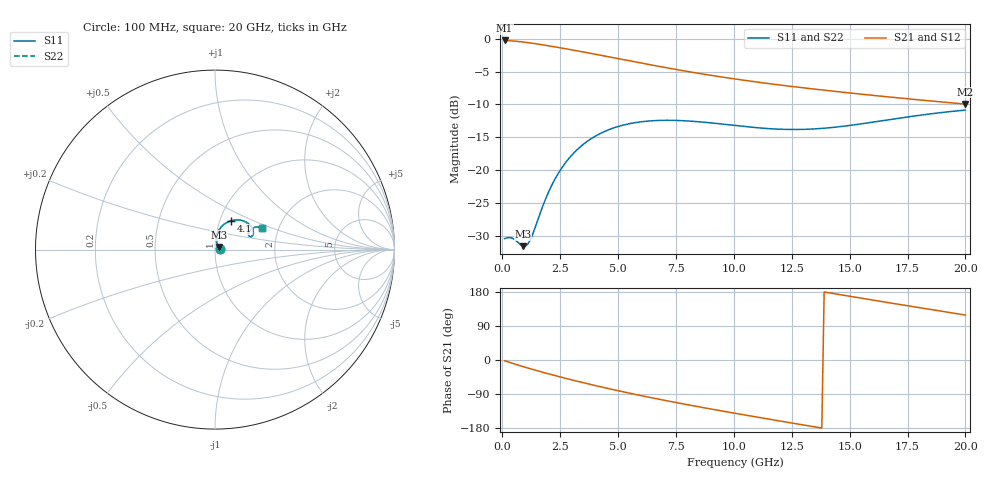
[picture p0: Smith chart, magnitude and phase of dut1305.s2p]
! Touchstone file exported from HFSS 2024.1.0
!  File:  C:/UserFiles/LocalFiles/RDL_TSV_Batchsim/temp_RDL_TSV_1305_1780383224.aedt
!  Generated:  03:09:50 PM Jun  2, 2026
!  Design:  RDL_TSV
!  Project:  temp_RDL_TSV_1305_1780383224
!  Setup:  Setup1
!  Solution:  Sweep
! Variables:
!  dtsv = 14.44um
!  hbump = 3um
!  htsv = 54.51um
!  ldown = 481.93um
!  lrdl = 540.87um
!  p = 40
!  p1 = 41.04um
!  rhole = 10um
!  subl = 3609.27um
!  t = 450um
!  tdown = 2.58um
!  trdl = 2.49um
!  viad = 10um
!  wdown = 10.47um
!  wrdl = 26.08um
!  xbump = 18um
# GHz S MA R 50.000000
! Terminal data exported
! Port[1] = TM1_1_T1
! Port[2] = TM1_4_T1
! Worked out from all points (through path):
!   200 points, 100 MHz to 20 GHz, reference 50 ohm
!   highest |S21| = -0.27 dB at 100 MHz (marker M1); lowest = -10.0 dB at 20 GHz (marker M2)
!   group delay of S21, straight-line fit = 32 ps
!   lowest |S11| = -31.6 dB at 900 MHz (marker M3), VSWR 1.05, Z = 52.2 + j1.54 ohm
!   |S11| at or under -10 dB: start of sweep to end of sweep
!   |S22| runs from -31.6 to -10.9 dB; largest |S21 - S12| = 2.2e-14
!   S11 on the Smith chart (normalised r, x): 100 MHz: 1.06, +0.00; 4.1 GHz: 1.13, +0.38; 20 GHz: 1.63, +0.43
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0.1  0.0301 3.7  0.9695 -2.0  0.9695 -2.0  0.0301 3.7
! Gamma 0 0 0 0
! Port Impedance 50 0 50 0
0.4  0.03049 11.5  0.9627 -8.0  0.9627 -8.0  0.03049 11.5
0.9  0.02637 33.9  0.9434 -17.4  0.9434 -17.4  0.02635 33.9
1.1  0.02736 50.3  0.9337 -21.1  0.9337 -21.1  0.02733 50.3
1.2  0.02926 58.3  0.9285 -22.9  0.9285 -22.9  0.02922 58.3
1.9  0.06209 82.6  0.8888 -35.0  0.8888 -35.0  0.06203 82.7
2.4  0.09326 81.2  0.8588 -43.1  0.8588 -43.1  0.09321 81.3
2.9  0.124 75.9  0.8284 -50.9  0.8284 -50.9  0.124 76.0
3.5  0.1572 68.3  0.7923 -60.0  0.7923 -60.0  0.1572 68.4
4.1  0.1847 60.6  0.7568 -68.6  0.7568 -68.6  0.1847 60.7
5.3  0.2217 46.8  0.6892 -85.1  0.6892 -85.1  0.2218 46.8
6  0.2332 39.9  0.6526 -94.1  0.6526 -94.1  0.2333 40.0
6.8  0.2389 33.3  0.614 -103.9  0.614 -103.9  0.239 33.4
7.6  0.2385 28.0  0.5791 -113.4  0.5791 -113.4  0.2387 28.1
8.4  0.2339 24.1  0.5478 -122.5  0.5478 -122.5  0.2341 24.1
10.1  0.218 19.9  0.4922 -141.1  0.4922 -141.1  0.2182 20.0
11.7  0.2058 20.9  0.4508 -158.0  0.4508 -158.0  0.2061 20.9
13.4  0.2054 25.0  0.4149 -175.5  0.4149 -175.5  0.2056 25.0
15  0.2186 28.5  0.3864 168.2  0.3864 168.2  0.2188 28.5
16.7  0.2418 29.7  0.3601 151.1  0.3601 151.1  0.2418 29.7
18.3  0.2652 28.2  0.3383 135.3  0.3383 135.3  0.2651 28.2
20  0.2863 25.0  0.3179 118.7  0.3179 118.7  0.2861 25.0
